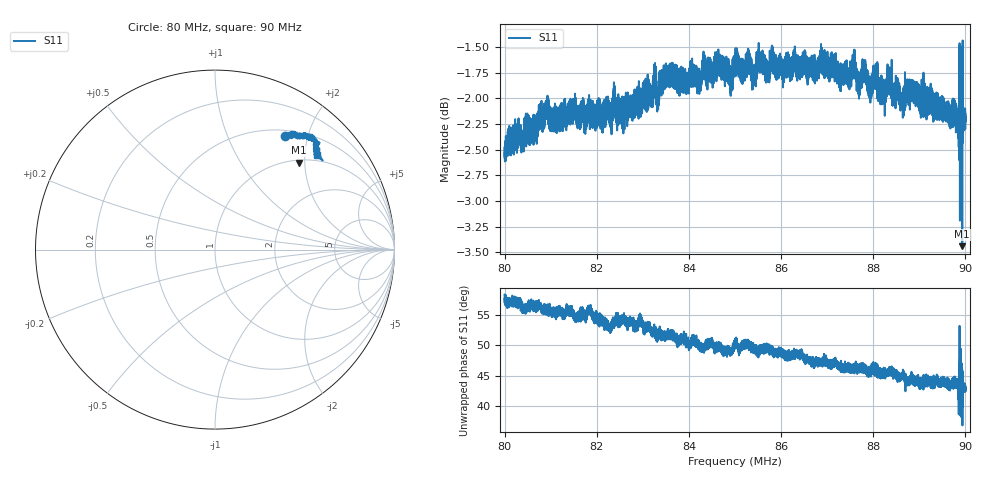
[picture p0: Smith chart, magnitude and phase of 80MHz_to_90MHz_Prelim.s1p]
# HZ S RI R 50
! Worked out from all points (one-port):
!   20200 points, 80 MHz to 90 MHz, reference 50 ohm
!   lowest |S11| = -3.4 dB at 89.93 MHz (marker M1), VSWR 5.12, Z = 52.8 + j93.5 ohm
!   |S11| at or under -10 dB: nowhere
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8e7  0.3892 0.6332
8.045292e7  0.4345 0.6348
8.061083e7  0.421 0.644
8.090981e7  0.4378 0.6438
8.124988e7  0.4335 0.6486
8.154638e7  0.4522 0.6387
8.18414e7  0.4361 0.6447
8.228344e7  0.4749 0.6234
8.249975e7  0.4615 0.6294
8.28517e7  0.4725 0.6332
8.294921e7  0.457 0.6375
8.325611e7  0.5077 0.6403
8.359518e7  0.5175 0.6408
8.374962e7  0.5273 0.6219
8.410206e7  0.5109 0.6418
8.424611e7  0.5209 0.63
8.463864e7  0.5349 0.6345
8.489902e7  0.5307 0.6121
8.49995e7  0.5238 0.6465
8.624938e7  0.5493 0.6141
8.749925e7  0.574 0.5971
8.778635e7  0.5685 0.5945
8.790515e7  0.5681 0.5769
8.834916e7  0.5689 0.594
8.843777e7  0.5514 0.5667
8.874912e7  0.5674 0.5611
8.99302e7  0.4676 0.484
8.99985e7  0.5678 0.5272
